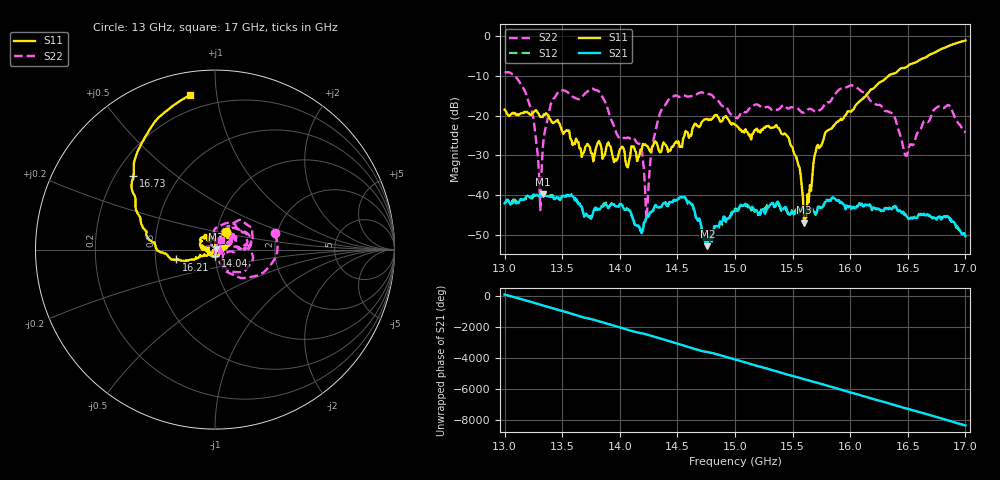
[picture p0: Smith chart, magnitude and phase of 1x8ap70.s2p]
!Keysight Technologies,P9374A,MY57211807,A.19.30.04
!Date: Friday, May 08, 2026 15:02:57
!Correction: S11(C  2-Port  )
!S21(C  2-Port  )
!S12(C  2-Port  )
!S22(C  2-Port  )
!S2P File: Measurements: S11, S21, S12, S22:
# Hz S  dB  R 50
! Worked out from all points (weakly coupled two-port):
!   401 points, 13 GHz to 17 GHz, reference 50 ohm
!   highest |S21| = -39.74 dB at 13.33 GHz (marker M1); lowest = -52.7 dB at 14.76 GHz (marker M2)
!   lowest |S11| = -46.8 dB at 15.6 GHz (marker M3), VSWR 1.01, Z = 50.4 + j0.192 ohm
!   |S11| at or under -10 dB: start of sweep to 16.34 GHz
!   |S22| runs from -46.0 to -9.2 dB; largest |S21 - S12| = 0.001
!   S11 on the Smith chart (normalised r, x): 13 GHz: 1.11, +0.23; 14.04 GHz: 1.00, -0.07; 16.21 GHz: 0.64, -0.07; 16.73 GHz: 0.27, +0.36; 17 GHz: 0.12, +0.85
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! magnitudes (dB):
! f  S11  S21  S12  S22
! 13 GHz  -18.6  -42.0  -42.2  -9.2
! 13.18 GHz  -19.2  -40.6  -41.0  -14.2
! 13.3 GHz  -19.9  -40.3  -40.1  -35.3
! 13.33 GHz  -20.4  -39.7  -39.5  -28.8
! 13.43 GHz  -21.7  -41.0  -41.0  -15.6
! 13.67 GHz  -30.3  -43.0  -42.9  -15.4
! 14.04 GHz  -28.9  -43.4  -43.6  -25.6
! 14.17 GHz  -29.9  -47.9  -48.1  -27.1
! 14.24 GHz  -27.6  -45.4  -45.4  -42.8
! 14.34 GHz  -28.8  -43.0  -42.9  -20.2
! 14.56 GHz  -25.1  -40.3  -40.3  -15.0
! 14.76 GHz  -20.8  -52.7  -52.6  -14.6
! 15 GHz  -22.3  -43.6  -43.3  -20.4
! 15.45 GHz  -25.0  -43.5  -44.1  -18.1
! 15.6 GHz  -46.8  -43.6  -43.8  -19.2
! 15.67 GHz  -35.8  -43.3  -43.6  -18.5
! 15.8 GHz  -23.8  -41.3  -41.1  -16.6
! 16.21 GHz  -13.0  -43.1  -43.0  -16.9
! 16.34 GHz  -9.9  -43.1  -43.2  -19.1
! 16.48 GHz  -8.0  -45.0  -44.7  -30.0
! 16.73 GHz  -4.3  -45.7  -45.6  -18.5
! 17 GHz  -1.2  -50.2  -49.9  -24.3
